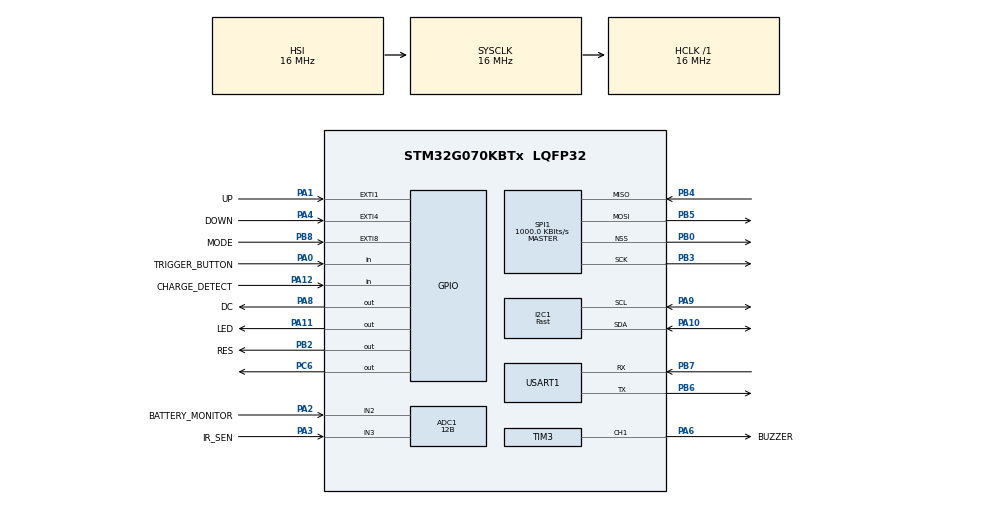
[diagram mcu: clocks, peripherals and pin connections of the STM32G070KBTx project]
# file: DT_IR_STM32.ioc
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ADC1.Channel-4\#ChannelRegularConversion=ADC_CHANNEL_2
ADC1.NbrOfConversionFlag=1
ADC1.Rank-4\#ChannelRegularConversion=1
ADC1.Resolution=ADC_RESOLUTION_12B
ADC1.SamplingTime-4\#ChannelRegularConversion=ADC_SAMPLINGTIME_COMMON_1
ADC1.master=1
I2C1.I2C_Speed_Mode=I2C_Fast
I2C1.Timing=0x0010061A
Mcu.Family=STM32G0
Mcu.Name=STM32G070KBTx
Mcu.Package=LQFP32
NRST.GPIO_Label=NRST
NRST.Signal=GPXTINRST
NVIC.EXTI0_1_IRQn=true\:0\:0\:false\:false\:true\:true\:true
NVIC.EXTI4_15_IRQn=true\:0\:0\:false\:false\:true\:true\:true
NVIC.I2C1_IRQn=true\:0\:0\:false\:false\:true\:true\:true
NVIC.TIM15_IRQn=true\:0\:0\:false\:false\:true\:true\:true
NVIC.TIM3_IRQn=true\:0\:0\:false\:false\:true\:true\:true
NVIC.USART1_IRQn=true\:0\:0\:false\:false\:true\:true\:true
PA0.GPIO_Label=TRIGGER_BUTTON
PA0.Signal=GPIO_Input
PA1.GPIO_Label=UP
PA1.Signal=GPXTI1
PA10.Mode=I2C
PA10.Signal=I2C1_SDA
PA11\ [PA9].GPIO_Label=LED
PA11\ [PA9].Signal=GPIO_Output
PA12\ [PA10].GPIO_Label=CHARGE_DETECT
PA12\ [PA10].Signal=GPIO_Input
PA13.GPIO_Label=SWDIO
PA13.Mode=Serial_Wire
PA13.Signal=SYS_SWDIO
PA14-BOOT0.GPIO_Label=SWCLK
PA14-BOOT0.Mode=Serial_Wire
PA14-BOOT0.Signal=SYS_SWCLK
PA2.GPIO_Label=BATTERY_MONITOR
PA2.Mode=IN2
PA2.Signal=ADC1_IN2
PA3.GPIO_Label=IR_SEN
PA3.Mode=IN3
PA3.Signal=ADC1_IN3
PA4.GPIO_Label=DOWN
PA4.Signal=GPXTI4
PA6.GPIO_Label=BUZZER
PA6.Signal=S_TIM3_CH1
PA8.GPIO_Label=DC
PA8.Signal=GPIO_Output
PA9.Mode=I2C
PA9.Signal=I2C1_SCL
PB0.Mode=NSS_Signal_Hard_Output
PB0.Signal=SPI1_NSS
PB2.GPIO_Label=RES
PB2.Signal=GPIO_Output
PB3.Mode=Full_Duplex_Master
PB3.Signal=SPI1_SCK
PB4.Mode=Full_Duplex_Master
PB4.Signal=SPI1_MISO
PB5.Mode=Full_Duplex_Master
PB5.Signal=SPI1_MOSI
PB6.Mode=Asynchronous
PB6.Signal=USART1_TX
PB7.Mode=Asynchronous
PB7.Signal=USART1_RX
PB8.GPIO_Label=MODE
PB8.Signal=GPXTI8
PC6.Signal=GPIO_Output
ProjectManager.HeapSize=0x200
ProjectManager.StackSize=0x400
ProjectManager.TargetToolchain=STM32CubeIDE
RCC.AHBFreq_Value=16000000
RCC.CortexFreq_Value=16000000
RCC.EXTERNAL_CLOCK_VALUE=48000
RCC.HCLKFreq_Value=16000000
RCC.HSE_VALUE=8000000
RCC.HSI_VALUE=16000000
RCC.LSE_VALUE=32768
RCC.SYSCLKFreq_VALUE=16000000
RCC.VCOOutputFreq_Value=128000000
SH.S_TIM3_CH1.0=TIM3_CH1,PWM Generation1 CH1
SPI1.BaudRatePrescaler=SPI_BAUDRATEPRESCALER_16
SPI1.CalculateBaudRate=1000.0 KBits/s
SPI1.Direction=SPI_DIRECTION_2LINES
SPI1.Mode=SPI_MODE_MASTER
SPI1.VirtualNSS=VM_NSSHARD
SPI1.VirtualType=VM_MASTER
TIM15.Period=20000
TIM15.Prescaler=16000
TIM3.Channel-PWM\ Generation1\ CH1=TIM_CHANNEL_1
TIM3.Period=255-1
TIM3.Prescaler=984-1
USART1.VirtualMode-Asynchronous=VM_ASYNC
USART1.WordLength=WORDLENGTH_7B
VP_SYS_VS_DBSignals.Mode=DisableDeadBatterySignals
VP_TIM15_VS_ClockSourceINT.Mode=Internal
board=custom

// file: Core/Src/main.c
/* USER CODE BEGIN Header */
/**
  ******************************************************************************
  * @file           : main.c
  * @brief          : Main program body
  ******************************************************************************
  * @attention
  *
  * <h2><center>&copy; Copyright (c) 2020 STMicroelectronics.
  * All rights reserved.</center></h2>
  *
  * This software component is licensed by ST under BSD 3-Clause license,
  * the "License"; You may not use this file except in compliance with the
  * License. You may obtain a copy of the License at:
  *                        opensource.org/licenses/BSD-3-Clause
  *
  ******************************************************************************
  */
/* USER CODE END Header */

#include "main.h"

ADC_HandleTypeDef hadc1;

I2C_HandleTypeDef hi2c1;

SPI_HandleTypeDef hspi1;

TIM_HandleTypeDef htim3;
TIM_HandleTypeDef htim15;

UART_HandleTypeDef huart1;

/* USER CODE BEGIN PV */
uint8_t trigger_button_status;
/* USER CODE END PV */

void SystemClock_Config(void);
static void MX_GPIO_Init(void);
static void MX_ADC1_Init(void);
static void MX_I2C1_Init(void);
static void MX_SPI1_Init(void);
static void MX_TIM3_Init(void);
static void MX_TIM15_Init(void);
static void MX_USART1_UART_Init(void);
/* USER CODE BEGIN PFP */

void power_down(void);
void power_up(void);
float battery_status(void);

/* USER CODE END PFP */

int main(void)
{

  /* MCU Configuration--------------------------------------------------------*/

  /* Reset of all peripherals, Initializes the Flash interface and the Systick. */
  HAL_Init();

  /* Configure the system clock */
  SystemClock_Config();

  /* Initialize all configured peripherals */
  MX_GPIO_Init();
  MX_ADC1_Init();
  MX_I2C1_Init();
  MX_SPI1_Init();
  MX_TIM3_Init();
  MX_TIM15_Init();
  MX_USART1_UART_Init();
  /* USER CODE BEGIN 2 */
  HAL_TIM_PWM_Start(&htim3,TIM_CHANNEL_1);

  /* USER CODE END 2 */

  /* Infinite loop */
  /* USER CODE BEGIN WHILE */
  while (1)
  {
	  /* USER CODE END WHtrigger_button_statusILE */

	  	  if( trigger_button_status == 1)
	  	  {
	  		  power_up();
	  	  }
    /* USER CODE END WHILE */

  }
}

void SystemClock_Config(void)
{
  RCC_OscInitTypeDef RCC_OscInitStruct = {0};
  RCC_ClkInitTypeDef RCC_ClkInitStruct = {0};
  RCC_PeriphCLKInitTypeDef PeriphClkInit = {0};

  /** Configure the main internal regulator output voltage
  */
  HAL_PWREx_ControlVoltageScaling(PWR_REGULATOR_VOLTAGE_SCALE1);
  /** Initializes the CPU, AHB and APB busses clocks
  */
  RCC_OscInitStruct.OscillatorType = RCC_OSCILLATORTYPE_HSI;
  RCC_OscInitStruct.HSIState = RCC_HSI_ON;
  RCC_OscInitStruct.HSIDiv = RCC_HSI_DIV1;
  RCC_OscInitStruct.HSICalibrationValue = RCC_HSICALIBRATION_DEFAULT;
  RCC_OscInitStruct.PLL.PLLState = RCC_PLL_NONE;
  if (HAL_RCC_OscConfig(&RCC_OscInitStruct) != HAL_OK)
  {
    Error_Handler();
  }
  /** Initializes the CPU, AHB and APB busses clocks
  */
  RCC_ClkInitStruct.ClockType = RCC_CLOCKTYPE_HCLK|RCC_CLOCKTYPE_SYSCLK
                              |RCC_CLOCKTYPE_PCLK1;
  RCC_ClkInitStruct.SYSCLKSource = RCC_SYSCLKSOURCE_HSI;
  RCC_ClkInitStruct.AHBCLKDivider = RCC_SYSCLK_DIV1;
  RCC_ClkInitStruct.APB1CLKDivider = RCC_HCLK_DIV1;

  if (HAL_RCC_ClockConfig(&RCC_ClkInitStruct, FLASH_LATENCY_0) != HAL_OK)
  {
    Error_Handler();
  }
  /** Initializes the peripherals clocks
  */
  PeriphClkInit.PeriphClockSelection = RCC_PERIPHCLK_USART1|RCC_PERIPHCLK_I2C1
                              |RCC_PERIPHCLK_ADC;
  PeriphClkInit.Usart1ClockSelection = RCC_USART1CLKSOURCE_PCLK1;
  PeriphClkInit.I2c1ClockSelection = RCC_I2C1CLKSOURCE_PCLK1;
  PeriphClkInit.AdcClockSelection = RCC_ADCCLKSOURCE_SYSCLK;
  if (HAL_RCCEx_PeriphCLKConfig(&PeriphClkInit) != HAL_OK)
  {
    Error_Handler();
  }
}

static void MX_ADC1_Init(void)
{

  ADC_ChannelConfTypeDef sConfig = {0};

  /** Configure the global features of the ADC (Clock, Resolution, Data Alignment and number of conversion)
  */
  hadc1.Instance = ADC1;
  hadc1.Init.ClockPrescaler = ADC_CLOCK_SYNC_PCLK_DIV2;
  hadc1.Init.Resolution = ADC_RESOLUTION_12B;
  hadc1.Init.DataAlign = ADC_DATAALIGN_RIGHT;
  hadc1.Init.ScanConvMode = ADC_SCAN_DISABLE;
  hadc1.Init.EOCSelection = ADC_EOC_SINGLE_CONV;
  hadc1.Init.LowPowerAutoWait = DISABLE;
  hadc1.Init.LowPowerAutoPowerOff = DISABLE;
  hadc1.Init.ContinuousConvMode = DISABLE;
  hadc1.Init.NbrOfConversion = 1;
  hadc1.Init.DiscontinuousConvMode = DISABLE;
  hadc1.Init.ExternalTrigConv = ADC_SOFTWARE_START;
  hadc1.Init.ExternalTrigConvEdge = ADC_EXTERNALTRIGCONVEDGE_NONE;
  hadc1.Init.DMAContinuousRequests = DISABLE;
  hadc1.Init.Overrun = ADC_OVR_DATA_PRESERVED;
  hadc1.Init.SamplingTimeCommon1 = ADC_SAMPLETIME_1CYCLE_5;
  hadc1.Init.SamplingTimeCommon2 = ADC_SAMPLETIME_1CYCLE_5;
  hadc1.Init.OversamplingMode = DISABLE;
  hadc1.Init.TriggerFrequencyMode = ADC_TRIGGER_FREQ_HIGH;
  if (HAL_ADC_Init(&hadc1) != HAL_OK)
  {
    Error_Handler();
  }
  /** Configure Regular Channel
  */
  sConfig.Channel = ADC_CHANNEL_2;
  sConfig.Rank = ADC_REGULAR_RANK_1;
  sConfig.SamplingTime = ADC_SAMPLINGTIME_COMMON_1;
  if (HAL_ADC_ConfigChannel(&hadc1, &sConfig) != HAL_OK)
  {
    Error_Handler();
  }

}

static void MX_I2C1_Init(void)
{

  hi2c1.Instance = I2C1;
  hi2c1.Init.Timing = 0x0010061A;
  hi2c1.Init.OwnAddress1 = 0;
  hi2c1.Init.AddressingMode = I2C_ADDRESSINGMODE_7BIT;
  hi2c1.Init.DualAddressMode = I2C_DUALADDRESS_DISABLE;
  hi2c1.Init.OwnAddress2 = 0;
  hi2c1.Init.OwnAddress2Masks = I2C_OA2_NOMASK;
  hi2c1.Init.GeneralCallMode = I2C_GENERALCALL_DISABLE;
  hi2c1.Init.NoStretchMode = I2C_NOSTRETCH_DISABLE;
  if (HAL_I2C_Init(&hi2c1) != HAL_OK)
  {
    Error_Handler();
  }
  /** Configure Analogue filter
  */
  if (HAL_I2CEx_ConfigAnalogFilter(&hi2c1, I2C_ANALOGFILTER_ENABLE) != HAL_OK)
  {
    Error_Handler();
  }
  /** Configure Digital filter
  */
  if (HAL_I2CEx_ConfigDigitalFilter(&hi2c1, 0) != HAL_OK)
  {
    Error_Handler();
  }

}

static void MX_SPI1_Init(void)
{

  /* SPI1 parameter configuration*/
  hspi1.Instance = SPI1;
  hspi1.Init.Mode = SPI_MODE_MASTER;
  hspi1.Init.Direction = SPI_DIRECTION_2LINES;
  hspi1.Init.DataSize = SPI_DATASIZE_4BIT;
  hspi1.Init.CLKPolarity = SPI_POLARITY_LOW;
  hspi1.Init.CLKPhase = SPI_PHASE_1EDGE;
  hspi1.Init.NSS = SPI_NSS_HARD_OUTPUT;
  hspi1.Init.BaudRatePrescaler = SPI_BAUDRATEPRESCALER_16;
  hspi1.Init.FirstBit = SPI_FIRSTBIT_MSB;
  hspi1.Init.TIMode = SPI_TIMODE_DISABLE;
  hspi1.Init.CRCCalculation = SPI_CRCCALCULATION_DISABLE;
  hspi1.Init.CRCPolynomial = 7;
  hspi1.Init.CRCLength = SPI_CRC_LENGTH_DATASIZE;
  hspi1.Init.NSSPMode = SPI_NSS_PULSE_ENABLE;
  if (HAL_SPI_Init(&hspi1) != HAL_OK)
  {
    Error_Handler();
  }

}

static void MX_TIM3_Init(void)
{

  TIM_MasterConfigTypeDef sMasterConfig = {0};
  TIM_OC_InitTypeDef sConfigOC = {0};

  htim3.Instance = TIM3;
  htim3.Init.Prescaler = 984-1;
  htim3.Init.CounterMode = TIM_COUNTERMODE_UP;
  htim3.Init.Period = 255-1;
  htim3.Init.ClockDivision = TIM_CLOCKDIVISION_DIV1;
  htim3.Init.AutoReloadPreload = TIM_AUTORELOAD_PRELOAD_DISABLE;
  if (HAL_TIM_PWM_Init(&htim3) != HAL_OK)
  {
    Error_Handler();
  }
  sMasterConfig.MasterOutputTrigger = TIM_TRGO_RESET;
  sMasterConfig.MasterSlaveMode = TIM_MASTERSLAVEMODE_DISABLE;
  if (HAL_TIMEx_MasterConfigSynchronization(&htim3, &sMasterConfig) != HAL_OK)
  {
    Error_Handler();
  }
  sConfigOC.OCMode = TIM_OCMODE_PWM1;
  sConfigOC.Pulse = 0;
  sConfigOC.OCPolarity = TIM_OCPOLARITY_HIGH;
  sConfigOC.OCFastMode = TIM_OCFAST_DISABLE;
  if (HAL_TIM_PWM_ConfigChannel(&htim3, &sConfigOC, TIM_CHANNEL_1) != HAL_OK)
  {
    Error_Handler();
  }
  HAL_TIM_MspPostInit(&htim3);

}

static void MX_TIM15_Init(void)
{

  TIM_ClockConfigTypeDef sClockSourceConfig = {0};
  TIM_MasterConfigTypeDef sMasterConfig = {0};

  htim15.Instance = TIM15;
  htim15.Init.Prescaler = 16000;
  htim15.Init.CounterMode = TIM_COUNTERMODE_UP;
  htim15.Init.Period = 20000;
  htim15.Init.ClockDivision = TIM_CLOCKDIVISION_DIV1;
  htim15.Init.RepetitionCounter = 0;
  htim15.Init.AutoReloadPreload = TIM_AUTORELOAD_PRELOAD_DISABLE;
  if (HAL_TIM_Base_Init(&htim15) != HAL_OK)
  {
    Error_Handler();
  }
  sClockSourceConfig.ClockSource = TIM_CLOCKSOURCE_INTERNAL;
  if (HAL_TIM_ConfigClockSource(&htim15, &sClockSourceConfig) != HAL_OK)
  {
    Error_Handler();
  }
  sMasterConfig.MasterOutputTrigger = TIM_TRGO_RESET;
  sMasterConfig.MasterSlaveMode = TIM_MASTERSLAVEMODE_DISABLE;
  if (HAL_TIMEx_MasterConfigSynchronization(&htim15, &sMasterConfig) != HAL_OK)
  {
    Error_Handler();
  }

}

static void MX_USART1_UART_Init(void)
{

  huart1.Instance = USART1;
  huart1.Init.BaudRate = 115200;
  huart1.Init.WordLength = UART_WORDLENGTH_7B;
  huart1.Init.StopBits = UART_STOPBITS_1;
  huart1.Init.Parity = UART_PARITY_NONE;
  huart1.Init.Mode = UART_MODE_TX_RX;
  huart1.Init.HwFlowCtl = UART_HWCONTROL_NONE;
  huart1.Init.OverSampling = UART_OVERSAMPLING_16;
  huart1.Init.OneBitSampling = UART_ONE_BIT_SAMPLE_DISABLE;
  huart1.Init.ClockPrescaler = UART_PRESCALER_DIV1;
  huart1.AdvancedInit.AdvFeatureInit = UART_ADVFEATURE_NO_INIT;
  if (HAL_UART_Init(&huart1) != HAL_OK)
  {
    Error_Handler();
  }
  if (HAL_UARTEx_SetTxFifoThreshold(&huart1, UART_TXFIFO_THRESHOLD_1_8) != HAL_OK)
  {
    Error_Handler();
  }
  if (HAL_UARTEx_SetRxFifoThreshold(&huart1, UART_RXFIFO_THRESHOLD_1_8) != HAL_OK)
  {
    Error_Handler();
  }
  if (HAL_UARTEx_DisableFifoMode(&huart1) != HAL_OK)
  {
    Error_Handler();
  }

}

static void MX_GPIO_Init(void)
{
  GPIO_InitTypeDef GPIO_InitStruct = {0};

  /* GPIO Ports Clock Enable */
  __HAL_RCC_GPIOA_CLK_ENABLE();
  __HAL_RCC_GPIOB_CLK_ENABLE();
  __HAL_RCC_GPIOC_CLK_ENABLE();

  /*Configure GPIO pin Output Level */
  HAL_GPIO_WritePin(RES_GPIO_Port, RES_Pin, GPIO_PIN_RESET);

  /*Configure GPIO pin Output Level */
  HAL_GPIO_WritePin(GPIOA, DC_Pin|LED_Pin, GPIO_PIN_RESET);

  /*Configure GPIO pin Output Level */
  HAL_GPIO_WritePin(GPIOC, GPIO_PIN_6, GPIO_PIN_RESET);

  /*Configure GPIO pins : TRIGGER_BUTTON_Pin CHARGE_DETECT_Pin */
  GPIO_InitStruct.Pin = TRIGGER_BUTTON_Pin|CHARGE_DETECT_Pin;
  GPIO_InitStruct.Mode = GPIO_MODE_INPUT;
  GPIO_InitStruct.Pull = GPIO_NOPULL;
  HAL_GPIO_Init(GPIOA, &GPIO_InitStruct);

  /*Configure GPIO pins : UP_Pin DOWN_Pin */
  GPIO_InitStruct.Pin = UP_Pin|DOWN_Pin;
  GPIO_InitStruct.Mode = GPIO_MODE_IT_RISING;
  GPIO_InitStruct.Pull = GPIO_NOPULL;
  HAL_GPIO_Init(GPIOA, &GPIO_InitStruct);

  /*Configure GPIO pin : RES_Pin */
  GPIO_InitStruct.Pin = RES_Pin;
  GPIO_InitStruct.Mode = GPIO_MODE_OUTPUT_PP;
  GPIO_InitStruct.Pull = GPIO_NOPULL;
  GPIO_InitStruct.Speed = GPIO_SPEED_FREQ_LOW;
  HAL_GPIO_Init(RES_GPIO_Port, &GPIO_InitStruct);

  /*Configure GPIO pins : DC_Pin LED_Pin */
  GPIO_InitStruct.Pin = DC_Pin|LED_Pin;
  GPIO_InitStruct.Mode = GPIO_MODE_OUTPUT_PP;
  GPIO_InitStruct.Pull = GPIO_NOPULL;
  GPIO_InitStruct.Speed = GPIO_SPEED_FREQ_LOW;
  HAL_GPIO_Init(GPIOA, &GPIO_InitStruct);

  /*Configure GPIO pin : PC6 */
  GPIO_InitStruct.Pin = GPIO_PIN_6;
  GPIO_InitStruct.Mode = GPIO_MODE_OUTPUT_PP;
  GPIO_InitStruct.Pull = GPIO_NOPULL;
  GPIO_InitStruct.Speed = GPIO_SPEED_FREQ_LOW;
  HAL_GPIO_Init(GPIOC, &GPIO_InitStruct);

  /*Configure GPIO pin : MODE_Pin */
  GPIO_InitStruct.Pin = MODE_Pin;
  GPIO_InitStruct.Mode = GPIO_MODE_IT_RISING;
  GPIO_InitStruct.Pull = GPIO_NOPULL;
  HAL_GPIO_Init(MODE_GPIO_Port, &GPIO_InitStruct);

  /* EXTI interrupt init*/
  HAL_NVIC_SetPriority(EXTI0_1_IRQn, 0, 0);
  HAL_NVIC_EnableIRQ(EXTI0_1_IRQn);

  HAL_NVIC_SetPriority(EXTI4_15_IRQn, 0, 0);
  HAL_NVIC_EnableIRQ(EXTI4_15_IRQn);

}

/* USER CODE BEGIN 4 */

float battery_status(void)
{
	uint32_t adc_value = 0;
	float battery_voltage = 0;
	HAL_ADC_PollForConversion(&hadc1, 1);//For time being 1 ms is used for time out

	adc_value = HAL_ADC_GetValue(&hadc1);
	battery_voltage = (adc_value /ADC_RESOLUTION)*(ADC_REF_VOLTAGE);  // (ADC resolution 2^12) , 3.3 Reference voltage

	return  battery_voltage;
}

/* void power_down(void)
 *brief function used to power up the modules after trigger button pressed
 *Param [in] 	:void
 *Param [out]	:void
 *Param [ret]	:void
 */
void power_up(void)
{
		HAL_I2C_Init(&hi2c1);
		HAL_SPI_Init(&hspi1);
		HAL_UART_Init(&huart1);
		HAL_ADC_Init(&hadc1);
}

void power_down(void)
{
	HAL_I2C_DeInit(&hi2c1);
	HAL_SPI_DeInit(&hspi1);
	HAL_UART_DeInit(&huart1);
	HAL_ADC_DeInit(&hadc1);
}

/* void power_down(void)
 *brief function used to power down the modules during the device in sleep mode
 *Param [in] 	:void
 *Param [out]	:void
 *Param [ret]	:void
 */

void HAL_GPIO_EXTI_Falling_Callback(uint16_t GPIO_Pin)
{
	trigger_button_status = 1;
}

/* USER CODE END 4 */

void Error_Handler(void)
{
}

/************************ (C) COPYRIGHT STMicroelectronics *****END OF FILE****/
